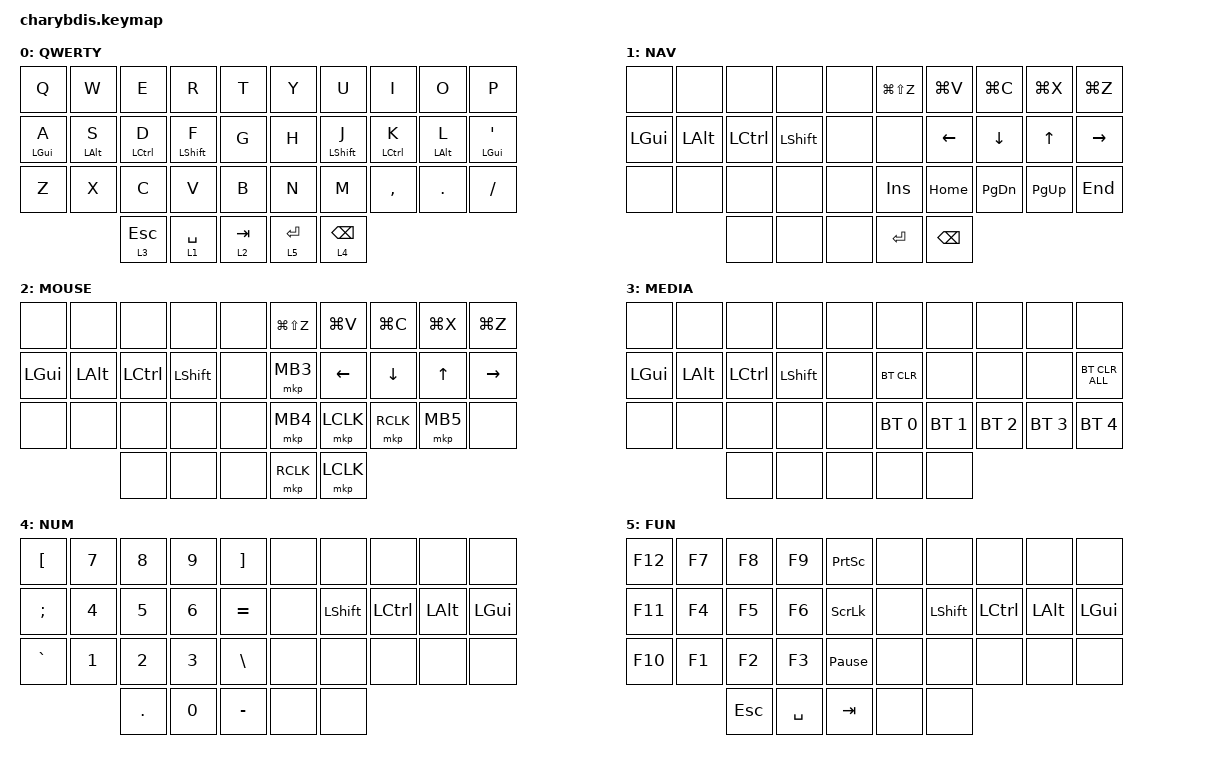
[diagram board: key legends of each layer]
#include <behaviors.dtsi>
#include <dt-bindings/zmk/bt.h>
#include <dt-bindings/zmk/keys.h>
#include <dt-bindings/zmk/mouse.h>

&lt {
    tapping-term-ms = <240>;
    flavor = "tap-preferred";
    quick-tap-ms = <150>;
    require-prior-idle-ms = <10>;
};

&mt {
    tapping-term-ms = <180>;
    flavor = "tap-preferred";
    require-prior-idle-ms = <0>;
};

/ {
    chosen { zmk,matrix_transform = &five_column_transform; };
};

/ {
    combos {
        compatible = "zmk,combos";

        LeftClickRight {
            bindings = <&mkp LCLK>;
            key-positions = <16 17>;
        };

        RightClickRight {
            bindings = <&mkp RCLK>;
            key-positions = <17 18>;
        };

        ParaLeft {
            bindings = <&kp LEFT_PARENTHESIS>;
            key-positions = <3 13>;
        };

        ParaRight {
            bindings = <&kp RIGHT_PARENTHESIS>;
            key-positions = <6 16>;
        };

        BrakLeft {
            bindings = <&kp LEFT_BRACKET>;
            key-positions = <2 12>;
        };

        BrakRight {
            bindings = <&kp RIGHT_BRACKET>;
            key-positions = <7 17>;
        };

        BraceLeft {
            bindings = <&kp LEFT_BRACE>;
            key-positions = <1 11>;
        };

        BraceRight {
            bindings = <&kp RIGHT_BRACE>;
            key-positions = <8 18>;
        };

        Delete {
            bindings = <&kp DELETE>;
            key-positions = <7 8>;
        };

        CapsWord {
            bindings = <&caps_word>;
            key-positions = <14 15>;
        };
    };

    behaviors {
        Shift_Enter: Shift_Enter {
            compatible = "zmk,behavior-hold-tap";
            label = "SHIFT_ENTER";
            bindings = <&kp>, <&kp>;

            #binding-cells = <2>;
            hold-trigger-key-positions = <34>;
            tapping-term-ms = <100>;
        };
    };

    keymap {
        compatible = "zmk,keymap";

        QWERTY {
            bindings = <
  &kp Q           &kp W           &kp E               &kp R             &kp T        &kp Y        &kp U             &kp I               &kp O           &kp P
  &mt LEFT_GUI A  &mt LEFT_ALT S  &mt LEFT_CONTROL D  &mt LEFT_SHIFT F  &kp G        &kp H        &mt LEFT_SHIFT J  &mt LEFT_CONTROL K  &mt LEFT_ALT L  &mt LEFT_GUI SQT
  &kp Z           &kp X           &kp C               &kp V             &kp B        &kp N        &kp M             &kp COMMA           &kp DOT         &kp SLASH
                                  &lt 3 ESCAPE        &lt 1 SPACE       &lt 2 TAB    &lt 5 ENTER  &lt 4 BACKSPACE
            >;
        };

        NAV {
            bindings = <
  &none         &none         &none             &none           &none    &kp LG(LS(Z))  &kp LG(V)      &kp LG(C)      &kp LG(X)    &kp LG(Z)
  &kp LEFT_GUI  &kp LEFT_ALT  &kp LEFT_CONTROL  &kp LEFT_SHIFT  &none    &none          &kp LEFT       &kp DOWN       &kp UP       &kp RIGHT
  &none         &none         &none             &none           &none    &kp INSERT     &kp HOME       &kp PAGE_DOWN  &kp PAGE_UP  &kp END
                              &none             &none           &none    &kp ENTER      &kp BACKSPACE
            >;
        };

        MOUSE {
            bindings = <
  &none         &none         &none             &none           &none    &kp LG(LS(Z))  &kp LG(V)       &kp LG(C)       &kp LG(X)     &kp LG(Z)
  &kp LEFT_GUI  &kp LEFT_ALT  &kp LEFT_CONTROL  &kp LEFT_SHIFT  &none    &mkp MB3       &kp LEFT_ARROW  &kp DOWN_ARROW  &kp UP_ARROW  &kp RIGHT_ARROW
  &none         &none         &none             &none           &none    &mkp MB4       &mkp LCLK       &mkp RCLK       &mkp MB5      &none
                              &none             &none           &none    &mkp RCLK      &mkp LCLK
            >;
        };

        MEDIA {
            bindings = <
  &none         &none         &none             &none           &none    &none         &none         &none         &none         &none
  &kp LEFT_GUI  &kp LEFT_ALT  &kp LEFT_CONTROL  &kp LEFT_SHIFT  &none    &bt BT_CLR    &none         &none         &none         &bt BT_CLR_ALL
  &none         &none         &none             &none           &none    &bt BT_SEL 0  &bt BT_SEL 1  &bt BT_SEL 2  &bt BT_SEL 3  &bt BT_SEL 4
                              &none             &none           &none    &none         &none
            >;
        };

        NUM {
            bindings = <
  &kp LEFT_BRACKET  &kp N7        &kp N8        &kp N9        &kp RIGHT_BRACKET    &none  &none           &none             &none         &none
  &kp SEMICOLON     &kp NUMBER_4  &kp N5        &kp NUMBER_6  &kp EQUAL            &none  &kp LEFT_SHIFT  &kp LEFT_CONTROL  &kp LEFT_ALT  &kp LEFT_GUI
  &kp GRAVE         &kp NUMBER_1  &kp NUMBER_2  &kp NUMBER_3  &kp BACKSLASH        &none  &none           &none             &none         &none
                                  &kp PERIOD    &kp N0        &kp MINUS            &none  &none
            >;
        };

        FUN {
            bindings = <
  &kp F12  &kp F7  &kp F8      &kp F9     &kp PRINTSCREEN    &none  &none           &none             &none         &none
  &kp F11  &kp F4  &kp F5      &kp F6     &kp SCROLLLOCK     &none  &kp LEFT_SHIFT  &kp LEFT_CONTROL  &kp LEFT_ALT  &kp LEFT_GUI
  &kp F10  &kp F1  &kp F2      &kp F3     &kp PAUSE_BREAK    &none  &none           &none             &none         &none
                   &kp ESCAPE  &kp SPACE  &kp TAB            &none  &none
            >;
        };
    };
};
